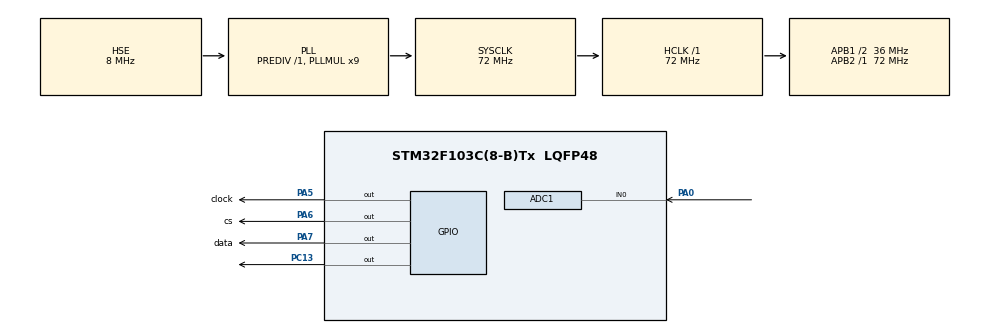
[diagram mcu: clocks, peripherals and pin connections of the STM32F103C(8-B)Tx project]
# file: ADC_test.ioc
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ADC1.Channel-0\#ChannelRegularConversion=ADC_CHANNEL_0
ADC1.ContinuousConvMode=ENABLE
ADC1.EnableRegularConversion=ENABLE
ADC1.NbrOfConversionFlag=1
ADC1.Rank-0\#ChannelRegularConversion=1
ADC1.SamplingTime-0\#ChannelRegularConversion=ADC_SAMPLETIME_41CYCLES_5
ADC1.master=1
Dma.ADC1.0.Direction=DMA_PERIPH_TO_MEMORY
Dma.ADC1.0.Instance=DMA1_Channel1
Dma.ADC1.0.MemDataAlignment=DMA_MDATAALIGN_HALFWORD
Dma.ADC1.0.MemInc=DMA_MINC_ENABLE
Dma.ADC1.0.Mode=DMA_CIRCULAR
Dma.ADC1.0.PeriphDataAlignment=DMA_PDATAALIGN_WORD
Dma.ADC1.0.PeriphInc=DMA_PINC_DISABLE
Dma.ADC1.0.Priority=DMA_PRIORITY_LOW
Dma.Request0=ADC1
Mcu.Family=STM32F1
Mcu.Name=STM32F103C(8-B)Tx
Mcu.Package=LQFP48
NVIC.ADC1_2_IRQn=true\:0\:0\:false\:false\:true\:true\:true
NVIC.DMA1_Channel1_IRQn=true\:0\:0\:false\:false\:true\:false\:true
NVIC.PriorityGroup=NVIC_PRIORITYGROUP_4
PA0-WKUP.Signal=ADCx_IN0
PA13.Mode=Serial_Wire
PA13.Signal=SYS_JTMS-SWDIO
PA14.Mode=Serial_Wire
PA14.Signal=SYS_JTCK-SWCLK
PA5.GPIO_Label=clock
PA5.Signal=GPIO_Output
PA6.GPIO_Label=cs
PA6.Signal=GPIO_Output
PA7.GPIO_Label=data
PA7.Signal=GPIO_Output
PC13-TAMPER-RTC.Signal=GPIO_Output
PD0-OSC_IN.Mode=HSE-External-Oscillator
PD0-OSC_IN.Signal=RCC_OSC_IN
PD1-OSC_OUT.Mode=HSE-External-Oscillator
PD1-OSC_OUT.Signal=RCC_OSC_OUT
ProjectManager.HeapSize=0x200
ProjectManager.StackSize=0x400
ProjectManager.TargetToolchain=MDK-ARM V5
RCC.ADCPresc=RCC_ADCPCLK2_DIV6
RCC.AHBFreq_Value=72000000
RCC.APB1CLKDivider=RCC_HCLK_DIV2
RCC.APB1Freq_Value=36000000
RCC.APB1TimFreq_Value=72000000
RCC.APB2Freq_Value=72000000
RCC.APB2TimFreq_Value=72000000
RCC.HCLKFreq_Value=72000000
RCC.PLLMUL=RCC_PLL_MUL9
RCC.PLLSourceVirtual=RCC_PLLSOURCE_HSE
RCC.SYSCLKFreq_VALUE=72000000
RCC.SYSCLKSource=RCC_SYSCLKSOURCE_PLLCLK
RCC.USBFreq_Value=72000000
SH.ADCx_IN0.0=ADC1_IN0,IN0
TIM1.Period=0xffff-1
TIM1.Prescaler=1-1
VP_ADC1_TempSens_Input.Mode=IN-TempSens
VP_TIM1_VS_ClockSourceINT.Mode=Internal
board=custom

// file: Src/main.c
/* USER CODE BEGIN Header */
/**
  ******************************************************************************
  * @file           : main.c
  * @brief          : Main program body
  ******************************************************************************
  * @attention
  *
  * <h2><center>&copy; Copyright (c) 2020 STMicroelectronics.
  * All rights reserved.</center></h2>
  *
  * This software component is licensed by ST under BSD 3-Clause license,
  * the "License"; You may not use this file except in compliance with the
  * License. You may obtain a copy of the License at:
  *                        opensource.org/licenses/BSD-3-Clause
  *
  ******************************************************************************
  */
/* USER CODE END Header */

#include "main.h"
#include <time.h>
#include <stdlib.h>

ADC_HandleTypeDef hadc1;
DMA_HandleTypeDef hdma_adc1;

TIM_HandleTypeDef htim1;

void SystemClock_Config(void);
static void MX_GPIO_Init(void);
static void MX_ADC1_Init(void);
static void MX_DMA_Init(void);
static void MX_TIM1_Init(void);

/* USER CODE BEGIN 0 */
uint16_t value[8], adc_buffer[8], read_value[8];
uint16_t distribution[9];
uint16_t times = 2560;
uint8_t distribution_clear[9];
uint8_t distribution_output[9];
uint8_t distribution_output_pre[9];
uint8_t change[9];
uint8_t max_fall;
uint32_t t=0;
uint8_t screen[8];
//---------------------Interupt ADC for writing data and increase time register--------------------
void HAL_ADC_ConvCpltCallback(ADC_HandleTypeDef* hadc)
{if (hadc->Instance==ADC1)
	{for(int i=0;i<8;i++)
		{value[i]=adc_buffer[i];
			t++;
		}
	}
}

//-----------------------------------------------------------------------------//
uint8_t disp1ay[38][8]={
{0x3C,0x42,0x42,0x42,0x42,0x42,0x42,0x3C},//0
{0x10,0x30,0x50,0x10,0x10,0x10,0x10,0x7c},//1
{0x7E,0x2,0x2,0x7E,0x40,0x40,0x40,0x7E},//2
{0x3E,0x2,0x2,0x3E,0x2,0x2,0x3E,0x0},//3
{0x8,0x18,0x28,0x48,0xFE,0x8,0x8,0x8},//4
{0x3C,0x20,0x20,0x3C,0x4,0x4,0x3C,0x0},//5
{0x3C,0x20,0x20,0x3C,0x24,0x24,0x3C,0x0},//6
{0x3E,0x22,0x4,0x8,0x8,0x8,0x8,0x8},//7
{0x0,0x3E,0x22,0x22,0x3E,0x22,0x22,0x3E},//8
{0x3E,0x22,0x22,0x3E,0x2,0x2,0x2,0x3E},//9
{0x00,0xFC,0x22,0x21,0x21,0x22,0xFC,0x00},//A
{0x00,0x00,0xFE,0x91,0x91,0x91,0x6E,0x00},//B
{0x3C,0x40,0x40,0x40,0x40,0x40,0x40,0x3C},//C
{0x00,0x81,0xFF,0x81,0x81,0x42,0x3C,0x00},//D
{0x00,0x00,0xFF,0x91,0x91,0x91,0x91,0x00},//E
{0x7C,0x40,0x40,0x7C,0x40,0x40,0x40,0x40},//F
{0x3C,0x40,0x40,0x40,0x4c,0x44,0x44,0x3C},//G
{0x00,0xFF,0x08,0x08,0x08,0x08,0xFF,0x00},//H
{0x00,0x00,0x81,0x81,0xFF,0x81,0x81,0x00},//I
{0x3C,0x8,0x8,0x8,0x8,0x8,0x48,0x30},//J
{0x0,0x24,0x28,0x30,0x20,0x30,0x28,0x24},//K
{0x40,0x40,0x40,0x40,0x40,0x40,0x40,0x7C},//L
{0x81,0xC3,0xA5,0x99,0x81,0x81,0x81,0x81},//M
{0x0,0x42,0x62,0x52,0x4A,0x46,0x42,0x0},//N
{0x3C,0x42,0x42,0x42,0x42,0x42,0x42,0x3C},//O
{0x00,0xFF,0x11,0x11,0x11,0x0E,0x00,0x00},//P
{0x00,0x00,0xFF,0x11,0x11,0x11,0x0E,0x00},//Q (P_2)
{0x00,0xFF,0x11,0x11,0x19,0xE6,0x00,0x00},//R
{0x00,0x00,0x8E,0x91,0x91,0x91,0x61,0x00},//S
{0x00,0x00,0x01,0x01,0xFF,0x01,0x01,0x00},//T
{0x42,0x42,0x42,0x42,0x42,0x42,0x22,0x1C},//U
{0x42,0x42,0x42,0x42,0x42,0x42,0x24,0x18},//V
{0x00,0x49,0x49,0x49,0x49,0x2A,0x1C,0x00},//W
{0x41,0x22,0x14,0x08,0x14,0x22,0x41,0x00},//X
{0x00,0x01,0x02,0x04,0xF8,0x04,0x02,0x01},//Y
{0x0,0x7F,0x2,0x4,0x8,0x10,0x20,0x7F},//Z
};
//--------------------------Write byte to address----------------------------------------//
void write_byte(uint8_t byte)
{
	    for(int i=0;i<8;i++)
          {
	    	 HAL_GPIO_WritePin(GPIOA, GPIO_PIN_5, 0);  // Pull the CLK LOW
	    	 HAL_GPIO_WritePin(GPIOA, GPIO_PIN_7, byte&0x80);// Write one BIT data MSB first
             byte = byte<<1;  // shift the data to the left
             HAL_GPIO_WritePin(GPIOA, GPIO_PIN_5, 1);  // Pull the CLK HIGH
           }
}
//----------------------------Write byte to a specific address-----------------------------------//
void write_max (uint8_t address, uint8_t data)
{
	HAL_GPIO_WritePin(GPIOA, GPIO_PIN_6, 0);   // Pull the CS pin LOW
    write_byte(address);   //  write address
    write_byte(data);  //  write data
    HAL_GPIO_WritePin(GPIOA, GPIO_PIN_6, 1);  // pull the CS HIGH
}
//-----------------------------Init for Matrix IC-------------------------------------//
void max_init(void)
{
 write_max(0x09, 0x00);       //  no decoding
 write_max(0x0a, 0x03);       //  brightness intensity
 write_max(0x0b, 0x07);       //  scan limit = 8 LEDs
 write_max(0x0c, 0x01);       //  power down =0,normal mode = 1
 write_max(0x0f, 0x00);       //  no test display
}
//------------------------------Write a string on matrix display--------------------------------//
void write_string (char *str)
{
	while (*str)
	{
		for(int i=1;i<9;i++)
			   {
			       write_max (i,disp1ay[(*str - 55)][i-1]);
			   }
		*str++;
		HAL_Delay (500);
	}
}
//----------Display to the screen using data in array screen[]---------
void write_screen (void)
{
		for(int i=1;i<9;i++)
			   {
			       write_max (i,screen[i-1]);
			   }
}
//---------Function used to calculate power of 2------------
int power_2(int value)
{ int output=1;
	for (int i=0;i<value;i++)
	{ output*=2;
	}
	return(output);
}
//------------Find the value of byte need to be written with the value of x------------------
int column(int x)
{return((power_2(x)-1)*power_2(8-x));
}
//-------------Calculate the display value of each column based on distribution value--------------
void display_2 (uint8_t distribution[9])
	{for(int i=0;i<9;i++)
		screen[i]=column(distribution[i]);
	}
//------------Save for test, used for display scanning column to column---------------
void falling (int col,int destination, int time)
	{display_2(distribution_output_pre);
	uint8_t drop =1;
	uint8_t temp=0;
	for (int i=8;i>destination-1;i--)
	{HAL_Delay(time);
	temp=screen[col-1]+drop;
	write_max(col,temp);
	drop*=2;
	}
}
//-----------Find the minumum distribution for calculate the max drop steps-----------------
uint8_t max(uint8_t distribution_output[9],uint8_t distribution_output_pre[9])
{ uint8_t k=8;
	for (int i=0;i<9;i++)
	{if (distribution_output[i]>distribution_output_pre[i])
			{if (distribution_output[i]<k)
				{k=distribution_output[i];
				}
			}
	}
	return(9-k);
}
//----------Check each column for next scanning time changes----------------------
void check_change(uint8_t distribution_output[9],uint8_t distribution_output_pre[9])
{	for (int i=0;i<9;i++)
	{if (distribution_output[i]>distribution_output_pre[i])
			{ change[i]=1;
				goto out;
			}
		change[i]=0;
		out:continue;
			}
}
//----------Graphic falling code----------------------------------
void falling_new (uint8_t k, int time)
{ display_2(distribution_output_pre);
	uint8_t step=1;
	int time_reduce_step[7] = {1,1,3,0,1,1,0};
	int time_reduce=0;
	int iteration=0;
	for(int j=k;j>0;j--)
	{
	uint8_t tmp[9];
	for (int i=0;i<9;i++)
	tmp[i]=0;

	for(int i=0;i<9;i++)
	{ tmp[i]=screen[i];
		if (change[i]==1)
		{ if(j>(k+distribution_output[i])-8)
			{tmp[i]=screen[i]+step;
				goto next_2;}
			tmp[i]=screen[i]+power_2(8-distribution_output[i]);
				next_2:continue;
		}
	}
	for (int i=0;i<9;i++)
	write_max(i+1,tmp[i]);
	step*=2;
	HAL_Delay(time-time_reduce);
	time_reduce+=time_reduce_step[iteration];
	iteration++;
	}
}

/* USER CODE END 0 */

int main(void)
{

  /* MCU Configuration--------------------------------------------------------*/

  /* Reset of all peripherals, Initializes the Flash interface and the Systick. */
  HAL_Init();

  /* Configure the system clock */
  SystemClock_Config();

  /* Initialize all configured peripherals */
  MX_GPIO_Init();
	MX_DMA_Init();
  MX_ADC1_Init();
  MX_TIM1_Init();
  /* USER CODE BEGIN 2 */
	HAL_ADC_Start_DMA (&hadc1, (uint32_t*)adc_buffer,8);
	max_init ();
	for (int i=0;i<9;i++)
	{distribution_clear[i]=0;
	}
  /* USER CODE END 2 */
  write_string ("HAPQY");//Q=P2
	for (int i=0;i<9;i++)
	write_max(i+1,0);
	HAL_Delay(500);
	write_string ("BIRTHDAY");
	HAL_Delay(500);
	write_string ("SISTER");
	HAL_Delay(500);
  /* Infinite loop */
  /* USER CODE BEGIN WHILE */
  while (1)
  {display_2(distribution_clear);
	write_screen();
	for (int i = 0; i < 9; i++)
    distribution[i] = 0;
  /* USER CODE END WHILE */
	for (int i=0;i<times;i++)
		{ uint16_t value_temp[8];
			for (int j=0;j<8;j++)
			value_temp[j]=value[j];
			uint8_t temp=0;
			for (int j=0;j<8;j++)
			{
				srand(t+value_temp[j]);
				temp+=(((uint16_t)rand()%200)/100);
			}
			if (t>(2000000))
				{t=rand()/1000000;
				}
			distribution[temp]++;
			//-------------Scanning column falling---------------
			/*if(i%100==0)
			{
				for (int i=0; i<9;i++)
				{ distribution_output[i]=(float)distribution[i]*1072.0/35.0/(float)times+0.5;
					if (distribution_output[i]>distribution_output_pre[i])
					{falling(i+1,distribution_output[i],20);
					}
				}

				for(int i=0;i<9;i++)
				{distribution_output_pre[i]=distribution_output[i];
				}
			}*/
			//-------------Synchronous falling---------------
			if(i%100==0)
			{	uint8_t k;
				for (int i=0; i<9;i++)
				 {distribution_output[i]=(float)distribution[i]*1072.0/35.0/(float)times+0.5;
					if (distribution_output[i]>8)
					{distribution_output[i]=8;
					}
				 }
			check_change(distribution_output,distribution_output_pre);
			k=max(distribution_output,distribution_output_pre);
			falling_new(k,26);

			for(int i=0;i<9;i++)
				{distribution_output_pre[i]=distribution_output[i];
				}
			}
		}
		//--------------End of graphic display--------------
		for (int i=0; i<9;i++)
		{ distribution_output[i]=(float)distribution[i]*1072.0/35.0/(float)times+0.5;
		}
    /* USER CODE BEGIN 3 */
		//--------------Keep the screen and wait for next display-------------
		display_2(distribution_output);
		write_screen();
		falling(1, 0, 400);
		HAL_GPIO_TogglePin(GPIOC,GPIO_PIN_13);
  }
  /* USER CODE END 3 */
}

void SystemClock_Config(void)
{
  RCC_OscInitTypeDef RCC_OscInitStruct = {0};
  RCC_ClkInitTypeDef RCC_ClkInitStruct = {0};
  RCC_PeriphCLKInitTypeDef PeriphClkInit = {0};

  /** Initializes the CPU, AHB and APB busses clocks
  */
  RCC_OscInitStruct.OscillatorType = RCC_OSCILLATORTYPE_HSE;
  RCC_OscInitStruct.HSEState = RCC_HSE_ON;
  RCC_OscInitStruct.HSEPredivValue = RCC_HSE_PREDIV_DIV1;
  RCC_OscInitStruct.HSIState = RCC_HSI_ON;
  RCC_OscInitStruct.PLL.PLLState = RCC_PLL_ON;
  RCC_OscInitStruct.PLL.PLLSource = RCC_PLLSOURCE_HSE;
  RCC_OscInitStruct.PLL.PLLMUL = RCC_PLL_MUL9;
  if (HAL_RCC_OscConfig(&RCC_OscInitStruct) != HAL_OK)
  {
    Error_Handler();
  }
  /** Initializes the CPU, AHB and APB busses clocks
  */
  RCC_ClkInitStruct.ClockType = RCC_CLOCKTYPE_HCLK|RCC_CLOCKTYPE_SYSCLK
                              |RCC_CLOCKTYPE_PCLK1|RCC_CLOCKTYPE_PCLK2;
  RCC_ClkInitStruct.SYSCLKSource = RCC_SYSCLKSOURCE_PLLCLK;
  RCC_ClkInitStruct.AHBCLKDivider = RCC_SYSCLK_DIV1;
  RCC_ClkInitStruct.APB1CLKDivider = RCC_HCLK_DIV2;
  RCC_ClkInitStruct.APB2CLKDivider = RCC_HCLK_DIV1;

  if (HAL_RCC_ClockConfig(&RCC_ClkInitStruct, FLASH_LATENCY_2) != HAL_OK)
  {
    Error_Handler();
  }
  PeriphClkInit.PeriphClockSelection = RCC_PERIPHCLK_ADC;
  PeriphClkInit.AdcClockSelection = RCC_ADCPCLK2_DIV6;
  if (HAL_RCCEx_PeriphCLKConfig(&PeriphClkInit) != HAL_OK)
  {
    Error_Handler();
  }
}

static void MX_ADC1_Init(void)
{

  ADC_ChannelConfTypeDef sConfig = {0};

  /** Common config
  */
  hadc1.Instance = ADC1;
  hadc1.Init.ScanConvMode = ADC_SCAN_DISABLE;
  hadc1.Init.ContinuousConvMode = ENABLE;
  hadc1.Init.DiscontinuousConvMode = DISABLE;
  hadc1.Init.ExternalTrigConv = ADC_SOFTWARE_START;
  hadc1.Init.DataAlign = ADC_DATAALIGN_RIGHT;
  hadc1.Init.NbrOfConversion = 1;
  if (HAL_ADC_Init(&hadc1) != HAL_OK)
  {
    Error_Handler();
  }
  /** Configure Regular Channel
  */
  sConfig.Channel = ADC_CHANNEL_0;
  sConfig.Rank = ADC_REGULAR_RANK_1;
  sConfig.SamplingTime = ADC_SAMPLETIME_41CYCLES_5;
  if (HAL_ADC_ConfigChannel(&hadc1, &sConfig) != HAL_OK)
  {
    Error_Handler();
  }

}

static void MX_TIM1_Init(void)
{

  TIM_ClockConfigTypeDef sClockSourceConfig = {0};
  TIM_MasterConfigTypeDef sMasterConfig = {0};

  htim1.Instance = TIM1;
  htim1.Init.Prescaler = 1-1;
  htim1.Init.CounterMode = TIM_COUNTERMODE_UP;
  htim1.Init.Period = 0xffff-1;
  htim1.Init.ClockDivision = TIM_CLOCKDIVISION_DIV1;
  htim1.Init.RepetitionCounter = 0;
  htim1.Init.AutoReloadPreload = TIM_AUTORELOAD_PRELOAD_DISABLE;
  if (HAL_TIM_Base_Init(&htim1) != HAL_OK)
  {
    Error_Handler();
  }
  sClockSourceConfig.ClockSource = TIM_CLOCKSOURCE_INTERNAL;
  if (HAL_TIM_ConfigClockSource(&htim1, &sClockSourceConfig) != HAL_OK)
  {
    Error_Handler();
  }
  sMasterConfig.MasterOutputTrigger = TIM_TRGO_RESET;
  sMasterConfig.MasterSlaveMode = TIM_MASTERSLAVEMODE_DISABLE;
  if (HAL_TIMEx_MasterConfigSynchronization(&htim1, &sMasterConfig) != HAL_OK)
  {
    Error_Handler();
  }

}

static void MX_DMA_Init(void)
{

  /* DMA controller clock enable */
  __HAL_RCC_DMA1_CLK_ENABLE();

  /* DMA interrupt init */
  /* DMA1_Channel1_IRQn interrupt configuration */
  HAL_NVIC_SetPriority(DMA1_Channel1_IRQn, 0, 0);
  HAL_NVIC_EnableIRQ(DMA1_Channel1_IRQn);

}

static void MX_GPIO_Init(void)
{
  GPIO_InitTypeDef GPIO_InitStruct = {0};

  /* GPIO Ports Clock Enable */
  __HAL_RCC_GPIOC_CLK_ENABLE();
  __HAL_RCC_GPIOD_CLK_ENABLE();
  __HAL_RCC_GPIOA_CLK_ENABLE();

  /*Configure GPIO pin Output Level */
  HAL_GPIO_WritePin(GPIOC, GPIO_PIN_13, GPIO_PIN_RESET);

  /*Configure GPIO pin Output Level */
  HAL_GPIO_WritePin(GPIOA, clock_Pin|cs_Pin|data_Pin, GPIO_PIN_RESET);

  /*Configure GPIO pin : PC13 */
  GPIO_InitStruct.Pin = GPIO_PIN_13;
  GPIO_InitStruct.Mode = GPIO_MODE_OUTPUT_PP;
  GPIO_InitStruct.Pull = GPIO_NOPULL;
  GPIO_InitStruct.Speed = GPIO_SPEED_FREQ_LOW;
  HAL_GPIO_Init(GPIOC, &GPIO_InitStruct);

  /*Configure GPIO pins : clock_Pin cs_Pin data_Pin */
  GPIO_InitStruct.Pin = clock_Pin|cs_Pin|data_Pin;
  GPIO_InitStruct.Mode = GPIO_MODE_OUTPUT_PP;
  GPIO_InitStruct.Pull = GPIO_NOPULL;
  GPIO_InitStruct.Speed = GPIO_SPEED_FREQ_LOW;
  HAL_GPIO_Init(GPIOA, &GPIO_InitStruct);

}

void Error_Handler(void)
{
}

/************************ (C) COPYRIGHT STMicroelectronics *****END OF FILE****/
